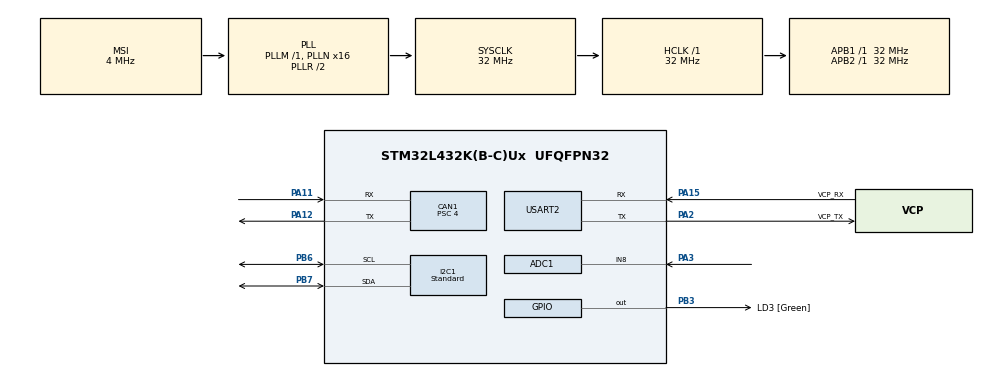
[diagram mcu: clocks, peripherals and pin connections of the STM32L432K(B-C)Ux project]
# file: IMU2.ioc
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ADC1.Channel-18\#ChannelRegularConversion=ADC_CHANNEL_8
ADC1.ClockPrescaler=ADC_CLOCK_ASYNC_DIV4
ADC1.ContinuousConvMode=ENABLE
ADC1.NbrOfConversion=1
ADC1.NbrOfConversionFlag=1
ADC1.OffsetNumber-18\#ChannelRegularConversion=ADC_OFFSET_NONE
ADC1.Overrun=ADC_OVR_DATA_OVERWRITTEN
ADC1.Rank-18\#ChannelRegularConversion=1
ADC1.SamplingTime-18\#ChannelRegularConversion=ADC_SAMPLETIME_2CYCLES_5
ADC1.master=1
CAN1.ABOM=ENABLE
CAN1.AutoBusOff=ENABLE
CAN1.BS1=CAN_BS1_9TQ
CAN1.BS2=CAN_BS2_6TQ
CAN1.CalculateTimeBit=375
CAN1.CalculateTimeQuantum=125.0
CAN1.Prescaler=4
CAN1.SJW=CAN_SJW_1TQ
CAN1.TimeSeg1=CAN_BS1_7TQ
CAN1.TimeSeg2=CAN_BS2_8TQ
I2C1.I2C_Speed_Mode=I2C_Standard
I2C1.Timing=0x00707CBB
Mcu.Family=STM32L4
Mcu.Name=STM32L432K(B-C)Ux
Mcu.Package=UFQFPN32
NVIC.CAN1_TX_IRQn=true\:0\:0\:false\:false\:true\:true
NVIC.PriorityGroup=NVIC_PRIORITYGROUP_4
PA0.GPIO_Label=MCO [High speed clock in]
PA0.Mode=HSE-External-Clock-Source-for-LittleOrca
PA0.Signal=RCC_CK_IN
PA11.Mode=Master
PA11.Signal=CAN1_RX
PA12.Mode=Master
PA12.Signal=CAN1_TX
PA13\ (JTMS-SWDIO).GPIO_Label=SWDIO
PA13\ (JTMS-SWDIO).Mode=Serial_Wire
PA13\ (JTMS-SWDIO).Signal=SYS_JTMS-SWDIO
PA14\ (JTCK-SWCLK).GPIO_Label=SWCLK
PA14\ (JTCK-SWCLK).Mode=Serial_Wire
PA14\ (JTCK-SWCLK).Signal=SYS_JTCK-SWCLK
PA15\ (JTDI).GPIO_Label=VCP_RX
PA15\ (JTDI).Mode=Asynchronous
PA15\ (JTDI).Signal=USART2_RX
PA2.GPIO_Label=VCP_TX
PA2.Mode=Asynchronous
PA2.Signal=USART2_TX
PA3.Signal=ADCx_IN8
PB3\ (JTDO-TRACESWO).GPIO_Label=LD3 [Green]
PB3\ (JTDO-TRACESWO).Signal=GPIO_Output
PB6.Mode=I2C
PB6.Signal=I2C1_SCL
PB7.Mode=I2C
PB7.Signal=I2C1_SDA
PC14-OSC32_IN\ (PC14).Mode=LSE-External-Oscillator
PC14-OSC32_IN\ (PC14).Signal=RCC_OSC32_IN
PC15-OSC32_OUT\ (PC15).Mode=LSE-External-Oscillator
PC15-OSC32_OUT\ (PC15).Signal=RCC_OSC32_OUT
ProjectManager.HeapSize=0x200
ProjectManager.StackSize=0x400
ProjectManager.TargetToolchain=SW4STM32
RCC.ADCFreq_Value=32000000
RCC.AHBFreq_Value=32000000
RCC.APB1Freq_Value=32000000
RCC.APB1TimFreq_Value=32000000
RCC.APB2Freq_Value=32000000
RCC.APB2TimFreq_Value=32000000
RCC.CortexFreq_Value=32000000
RCC.HCLKFreq_Value=32000000
RCC.HSE_VALUE=8000000
RCC.HSI16_VALUE=16000000
RCC.HSI48_VALUE=48000000
RCC.HSI_VALUE=16000000
RCC.MSI_VALUE=4000000
RCC.PLLMUL=RCC_PLLMUL_4
RCC.PLLN=16
RCC.PLLSAI1N=16
RCC.SYSCLKFreq_VALUE=32000000
RCC.SYSCLKSource=RCC_SYSCLKSOURCE_PLLCLK
RCC.USBFreq_Value=32000000
RCC.VCOOutputFreq_Value=64000000
SH.ADCx_IN8.0=ADC1_IN8,IN8-Single-Ended
USART2.VirtualMode-Asynchronous=VM_ASYNC
board=NUCLEO-L432KC

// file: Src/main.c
/**
  ******************************************************************************
  * @file           : main.c
  * @brief          : Main program body
  ******************************************************************************
  ** This notice applies to any and all portions of this file
  * that are not between comment pairs USER CODE BEGIN and
  * USER CODE END. Other portions of this file, whether
  * inserted by the user or by software development tools
  * are owned by their respective copyright owners.
  *
  * COPYRIGHT(c) 2018 STMicroelectronics
  *
  * Redistribution and use in source and binary forms, with or without modification,
  * are permitted provided that the following conditions are met:
  *   1. Redistributions of source code must retain the above copyright notice,
  *      this list of conditions and the following disclaimer.
  *   2. Redistributions in binary form must reproduce the above copyright notice,
  *      this list of conditions and the following disclaimer in the documentation
  *      and/or other materials provided with the distribution.
  *   3. Neither the name of STMicroelectronics nor the names of its contributors
  *      may be used to endorse or promote products derived from this software
  *      without specific prior written permission.
  *
  * THIS SOFTWARE IS PROVIDED BY THE COPYRIGHT HOLDERS AND CONTRIBUTORS "AS IS"
  * AND ANY EXPRESS OR IMPLIED WARRANTIES, INCLUDING, BUT NOT LIMITED TO, THE
  * IMPLIED WARRANTIES OF MERCHANTABILITY AND FITNESS FOR A PARTICULAR PURPOSE ARE
  * DISCLAIMED. IN NO EVENT SHALL THE COPYRIGHT HOLDER OR CONTRIBUTORS BE LIABLE
  * FOR ANY DIRECT, INDIRECT, INCIDENTAL, SPECIAL, EXEMPLARY, OR CONSEQUENTIAL
  * DAMAGES (INCLUDING, BUT NOT LIMITED TO, PROCUREMENT OF SUBSTITUTE GOODS OR
  * SERVICES; LOSS OF USE, DATA, OR PROFITS; OR BUSINESS INTERRUPTION) HOWEVER
  * CAUSED AND ON ANY THEORY OF LIABILITY, WHETHER IN CONTRACT, STRICT LIABILITY,
  * OR TORT (INCLUDING NEGLIGENCE OR OTHERWISE) ARISING IN ANY WAY OUT OF THE USE
  * OF THIS SOFTWARE, EVEN IF ADVISED OF THE POSSIBILITY OF SUCH DAMAGE.
  *
  ******************************************************************************
  */
#include "main.h"
#include "stm32l4xx_hal.h"

/* USER CODE BEGIN Includes */
#include "lsm303d.h"
#include "l3gd20h.h"
//#include "imu.h"
#include "daq.h"
//#include "imu.h"

/* USER CODE END Includes */

ADC_HandleTypeDef hadc1;

CAN_HandleTypeDef hcan1;

I2C_HandleTypeDef hi2c1;

UART_HandleTypeDef huart2;

/* USER CODE BEGIN PV */

//IMU_TypeDef imu;
DAQ_TypeDef daq;
/* Private variables ---------------------------------------------------------*/
//IMU_TypeDef imu;
/* USER CODE END PV */

void SystemClock_Config(void);
static void MX_GPIO_Init(void);
static void MX_USART2_UART_Init(void);
static void MX_I2C1_Init(void);
static void MX_ADC1_Init(void);
static void MX_CAN1_Init(void);

/* USER CODE BEGIN PFP */
/* Private function prototypes -----------------------------------------------*/

/* USER CODE END PFP */

/* USER CODE BEGIN 0 */

float x_a_out, y_a_out, z_a_out, x_g_out, y_g_out, z_g_out = 0;

/* USER CODE END 0 */

int main(void)
{

  /* MCU Configuration----------------------------------------------------------*/

  /* Reset of all peripherals, Initializes the Flash interface and the Systick. */
  HAL_Init();

  /* Configure the system clock */
  SystemClock_Config();

  /* Initialize all configured peripherals */
  MX_GPIO_Init();
  MX_USART2_UART_Init();
  MX_I2C1_Init();
  MX_ADC1_Init();
  MX_CAN1_Init();
  /* USER CODE BEGIN 2 */

//  if the devices were not intitialized properly, then loop and blink led forever
  if (daq_init(&hi2c1, &hadc1, &hcan1, &daq) != DAQ_OK)

  {
	  while (1)
	  	  {
		  HAL_GPIO_TogglePin(LD3_GPIO_Port, LD3_Pin);
		  HAL_Delay(1000);
	  }
  }

  //else flash led quickly to display it is ready
  else
  {
	  HAL_Delay(500);
	  for (int i = 0; i < 6; i++)
	  {
		  HAL_GPIO_TogglePin(LD3_GPIO_Port, LD3_Pin);
		  HAL_Delay(150);
	  }
  }
  /* USER CODE END 2 */

  /* Infinite loop */
  while (1)
  {

  /* USER CODE BEGIN 3 */

//	  if ( read_accel(&hi2c1) != HAL_OK || read_gyro(&hi2c1) != HAL_OK || HAL_ADC_PollForConversion(&hadc1, 1000) != HAL_OK)
	  if (daq_read_data(&daq) != DAQ_OK)
	  {
		  while (1)
		  {
			  for (uint8_t i = 0; i < 5; i++)
			  {
				  HAL_GPIO_TogglePin(LD3_GPIO_Port, LD3_Pin);
				  HAL_Delay(300);
			  }
			  HAL_GPIO_TogglePin(LD3_GPIO_Port, LD3_Pin);
			  HAL_Delay(2000);
		  }
	  }

	  for (uint8_t i = 0; i < 7; i++)
	  {
		  if (daq_send_imu_data(&daq, i) != DAQ_OK)
		  {
			  while(1)
			  {
				  for (uint8_t i = 0; i < 5; i++)
				  {
					  HAL_GPIO_TogglePin(LD3_GPIO_Port, LD3_Pin);
					  HAL_Delay(1000);
				  }
				  HAL_GPIO_TogglePin(LD3_GPIO_Port, LD3_Pin);
				  HAL_Delay(2000);
			  }
		  }
		  daq_send_adc_data(&daq);
	  }

//	 daq_send_imu_data(&daq, ACCEL_X);
//	 daq_send_imu_data(&daq, ACCEL_Y);
//	 daq_send_imu_data(&daq, ACCEL_Z);
//	 daq_send_imu_data(&daq, GYRO_X);
//	 daq_send_imu_data(&daq, GYRO_Y);
//	 daq_send_imu_data(&daq, GYRO_Z);
//	 daq_send_adc_data(&daq);

//	  accel.x_accel = ( (int16_t) accel.accel_x_high << 8 ) | ( (int16_t) accel.accel_x_low ) ;
//	  accel.y_accel = ( (int16_t) accel.accel_y_high << 8 ) | ( (int16_t) accel.accel_y_low ) ;
//	  accel.z_accel = ( (int16_t) accel.accel_z_high << 8 ) | ( (int16_t) accel.accel_z_low ) ;
//
//	  x_a_out = accel.x_accel * accel.conversion;
//	  y_a_out = accel.y_accel * accel.conversion;
//	  z_a_out = accel.z_accel * accel.conversion;
//
//	  gyro.gyro_x_out = ( (int16_t) gyro.gyro_x_high << 8 ) | ( (int16_t) gyro.gyro_x_low );
//	  gyro.gyro_y_out = ( (int16_t) gyro.gyro_y_high << 8 ) | ( (int16_t) gyro.gyro_y_low );
//	  gyro.gyro_z_out = ( (int16_t) gyro.gyro_z_high << 8 ) | ( (int16_t) gyro.gyro_z_low );
//
//	  x_g_out = gyro.gyro_x_out * gyro.sensitivity;
//	  y_g_out = gyro.gyro_y_out * gyro.sensitivity;
//	  z_g_out = gyro.gyro_z_out * gyro.sensitivity;
  }
  /* USER CODE END 3 */

}

void SystemClock_Config(void)
{

  RCC_OscInitTypeDef RCC_OscInitStruct;
  RCC_ClkInitTypeDef RCC_ClkInitStruct;
  RCC_PeriphCLKInitTypeDef PeriphClkInit;

    /**Configure LSE Drive Capability
    */
  HAL_PWR_EnableBkUpAccess();

  __HAL_RCC_LSEDRIVE_CONFIG(RCC_LSEDRIVE_LOW);

    /**Initializes the CPU, AHB and APB busses clocks
    */
  RCC_OscInitStruct.OscillatorType = RCC_OSCILLATORTYPE_LSE|RCC_OSCILLATORTYPE_MSI;
  RCC_OscInitStruct.LSEState = RCC_LSE_ON;
  RCC_OscInitStruct.MSIState = RCC_MSI_ON;
  RCC_OscInitStruct.MSICalibrationValue = 0;
  RCC_OscInitStruct.MSIClockRange = RCC_MSIRANGE_6;
  RCC_OscInitStruct.PLL.PLLState = RCC_PLL_ON;
  RCC_OscInitStruct.PLL.PLLSource = RCC_PLLSOURCE_MSI;
  RCC_OscInitStruct.PLL.PLLM = 1;
  RCC_OscInitStruct.PLL.PLLN = 16;
  RCC_OscInitStruct.PLL.PLLP = RCC_PLLP_DIV7;
  RCC_OscInitStruct.PLL.PLLQ = RCC_PLLQ_DIV2;
  RCC_OscInitStruct.PLL.PLLR = RCC_PLLR_DIV2;
  if (HAL_RCC_OscConfig(&RCC_OscInitStruct) != HAL_OK)
  {
    _Error_Handler(__FILE__, __LINE__);
  }

    /**Initializes the CPU, AHB and APB busses clocks
    */
  RCC_ClkInitStruct.ClockType = RCC_CLOCKTYPE_HCLK|RCC_CLOCKTYPE_SYSCLK
                              |RCC_CLOCKTYPE_PCLK1|RCC_CLOCKTYPE_PCLK2;
  RCC_ClkInitStruct.SYSCLKSource = RCC_SYSCLKSOURCE_PLLCLK;
  RCC_ClkInitStruct.AHBCLKDivider = RCC_SYSCLK_DIV1;
  RCC_ClkInitStruct.APB1CLKDivider = RCC_HCLK_DIV1;
  RCC_ClkInitStruct.APB2CLKDivider = RCC_HCLK_DIV1;

  if (HAL_RCC_ClockConfig(&RCC_ClkInitStruct, FLASH_LATENCY_1) != HAL_OK)
  {
    _Error_Handler(__FILE__, __LINE__);
  }

  PeriphClkInit.PeriphClockSelection = RCC_PERIPHCLK_USART2|RCC_PERIPHCLK_I2C1
                              |RCC_PERIPHCLK_ADC;
  PeriphClkInit.Usart2ClockSelection = RCC_USART2CLKSOURCE_PCLK1;
  PeriphClkInit.I2c1ClockSelection = RCC_I2C1CLKSOURCE_PCLK1;
  PeriphClkInit.AdcClockSelection = RCC_ADCCLKSOURCE_PLLSAI1;
  PeriphClkInit.PLLSAI1.PLLSAI1Source = RCC_PLLSOURCE_MSI;
  PeriphClkInit.PLLSAI1.PLLSAI1M = 1;
  PeriphClkInit.PLLSAI1.PLLSAI1N = 16;
  PeriphClkInit.PLLSAI1.PLLSAI1P = RCC_PLLP_DIV7;
  PeriphClkInit.PLLSAI1.PLLSAI1Q = RCC_PLLQ_DIV2;
  PeriphClkInit.PLLSAI1.PLLSAI1R = RCC_PLLR_DIV2;
  PeriphClkInit.PLLSAI1.PLLSAI1ClockOut = RCC_PLLSAI1_ADC1CLK;
  if (HAL_RCCEx_PeriphCLKConfig(&PeriphClkInit) != HAL_OK)
  {
    _Error_Handler(__FILE__, __LINE__);
  }

    /**Configure the main internal regulator output voltage
    */
  if (HAL_PWREx_ControlVoltageScaling(PWR_REGULATOR_VOLTAGE_SCALE1) != HAL_OK)
  {
    _Error_Handler(__FILE__, __LINE__);
  }

    /**Configure the Systick interrupt time
    */
  HAL_SYSTICK_Config(HAL_RCC_GetHCLKFreq()/1000);

    /**Configure the Systick
    */
  HAL_SYSTICK_CLKSourceConfig(SYSTICK_CLKSOURCE_HCLK);

    /**Enable MSI Auto calibration
    */
  HAL_RCCEx_EnableMSIPLLMode();

  /* SysTick_IRQn interrupt configuration */
  HAL_NVIC_SetPriority(SysTick_IRQn, 0, 0);
}

/* ADC1 init function */
static void MX_ADC1_Init(void)
{

  ADC_ChannelConfTypeDef sConfig;

    /**Common config
    */
  hadc1.Instance = ADC1;
  hadc1.Init.ClockPrescaler = ADC_CLOCK_ASYNC_DIV4;
  hadc1.Init.Resolution = ADC_RESOLUTION_12B;
  hadc1.Init.DataAlign = ADC_DATAALIGN_RIGHT;
  hadc1.Init.ScanConvMode = ADC_SCAN_DISABLE;
  hadc1.Init.EOCSelection = ADC_EOC_SINGLE_CONV;
  hadc1.Init.LowPowerAutoWait = DISABLE;
  hadc1.Init.ContinuousConvMode = ENABLE;
  hadc1.Init.NbrOfConversion = 1;
  hadc1.Init.DiscontinuousConvMode = DISABLE;
  hadc1.Init.ExternalTrigConv = ADC_SOFTWARE_START;
  hadc1.Init.ExternalTrigConvEdge = ADC_EXTERNALTRIGCONVEDGE_NONE;
  hadc1.Init.DMAContinuousRequests = DISABLE;
  hadc1.Init.Overrun = ADC_OVR_DATA_OVERWRITTEN;
  hadc1.Init.OversamplingMode = DISABLE;
  if (HAL_ADC_Init(&hadc1) != HAL_OK)
  {
    _Error_Handler(__FILE__, __LINE__);
  }

    /**Configure Regular Channel
    */
  sConfig.Channel = ADC_CHANNEL_8;
  sConfig.Rank = ADC_REGULAR_RANK_1;
  sConfig.SamplingTime = ADC_SAMPLETIME_2CYCLES_5;
  sConfig.SingleDiff = ADC_SINGLE_ENDED;
  sConfig.OffsetNumber = ADC_OFFSET_NONE;
  sConfig.Offset = 0;
  if (HAL_ADC_ConfigChannel(&hadc1, &sConfig) != HAL_OK)
  {
    _Error_Handler(__FILE__, __LINE__);
  }

}

/* CAN1 init function */
static void MX_CAN1_Init(void)
{

  hcan1.Instance = CAN1;
  hcan1.Init.Prescaler = 4;
  hcan1.Init.Mode = CAN_MODE_NORMAL;
  hcan1.Init.SyncJumpWidth = CAN_SJW_1TQ;
  hcan1.Init.TimeSeg1 = CAN_BS1_9TQ;
  hcan1.Init.TimeSeg2 = CAN_BS2_6TQ;
  hcan1.Init.TimeTriggeredMode = DISABLE;
  hcan1.Init.AutoBusOff = ENABLE;
  hcan1.Init.AutoWakeUp = DISABLE;
  hcan1.Init.AutoRetransmission = DISABLE;
  hcan1.Init.ReceiveFifoLocked = DISABLE;
  hcan1.Init.TransmitFifoPriority = DISABLE;
  if (HAL_CAN_Init(&hcan1) != HAL_OK)
  {
    _Error_Handler(__FILE__, __LINE__);
  }

}

/* I2C1 init function */
static void MX_I2C1_Init(void)
{

  hi2c1.Instance = I2C1;
  hi2c1.Init.Timing = 0x00707CBB;
  hi2c1.Init.OwnAddress1 = 0;
  hi2c1.Init.AddressingMode = I2C_ADDRESSINGMODE_7BIT;
  hi2c1.Init.DualAddressMode = I2C_DUALADDRESS_DISABLE;
  hi2c1.Init.OwnAddress2 = 0;
  hi2c1.Init.OwnAddress2Masks = I2C_OA2_NOMASK;
  hi2c1.Init.GeneralCallMode = I2C_GENERALCALL_DISABLE;
  hi2c1.Init.NoStretchMode = I2C_NOSTRETCH_DISABLE;
  if (HAL_I2C_Init(&hi2c1) != HAL_OK)
  {
    _Error_Handler(__FILE__, __LINE__);
  }

    /**Configure Analogue filter
    */
  if (HAL_I2CEx_ConfigAnalogFilter(&hi2c1, I2C_ANALOGFILTER_ENABLE) != HAL_OK)
  {
    _Error_Handler(__FILE__, __LINE__);
  }

    /**Configure Digital filter
    */
  if (HAL_I2CEx_ConfigDigitalFilter(&hi2c1, 0) != HAL_OK)
  {
    _Error_Handler(__FILE__, __LINE__);
  }

}

/* USART2 init function */
static void MX_USART2_UART_Init(void)
{

  huart2.Instance = USART2;
  huart2.Init.BaudRate = 115200;
  huart2.Init.WordLength = UART_WORDLENGTH_8B;
  huart2.Init.StopBits = UART_STOPBITS_1;
  huart2.Init.Parity = UART_PARITY_NONE;
  huart2.Init.Mode = UART_MODE_TX_RX;
  huart2.Init.HwFlowCtl = UART_HWCONTROL_NONE;
  huart2.Init.OverSampling = UART_OVERSAMPLING_16;
  huart2.Init.OneBitSampling = UART_ONE_BIT_SAMPLE_DISABLE;
  huart2.AdvancedInit.AdvFeatureInit = UART_ADVFEATURE_NO_INIT;
  if (HAL_UART_Init(&huart2) != HAL_OK)
  {
    _Error_Handler(__FILE__, __LINE__);
  }

}

/** Configure pins as
        * Analog
        * Input
        * Output
        * EVENT_OUT
        * EXTI
*/
static void MX_GPIO_Init(void)
{

  GPIO_InitTypeDef GPIO_InitStruct;

  /* GPIO Ports Clock Enable */
  __HAL_RCC_GPIOC_CLK_ENABLE();
  __HAL_RCC_GPIOA_CLK_ENABLE();
  __HAL_RCC_GPIOB_CLK_ENABLE();

  /*Configure GPIO pin Output Level */
  HAL_GPIO_WritePin(LD3_GPIO_Port, LD3_Pin, GPIO_PIN_RESET);

  /*Configure GPIO pin : LD3_Pin */
  GPIO_InitStruct.Pin = LD3_Pin;
  GPIO_InitStruct.Mode = GPIO_MODE_OUTPUT_PP;
  GPIO_InitStruct.Pull = GPIO_NOPULL;
  GPIO_InitStruct.Speed = GPIO_SPEED_FREQ_LOW;
  HAL_GPIO_Init(LD3_GPIO_Port, &GPIO_InitStruct);

}

void _Error_Handler(char *file, int line)
{
  while(1)
  {
  }
}

/************************ (C) COPYRIGHT STMicroelectronics *****END OF FILE****/
